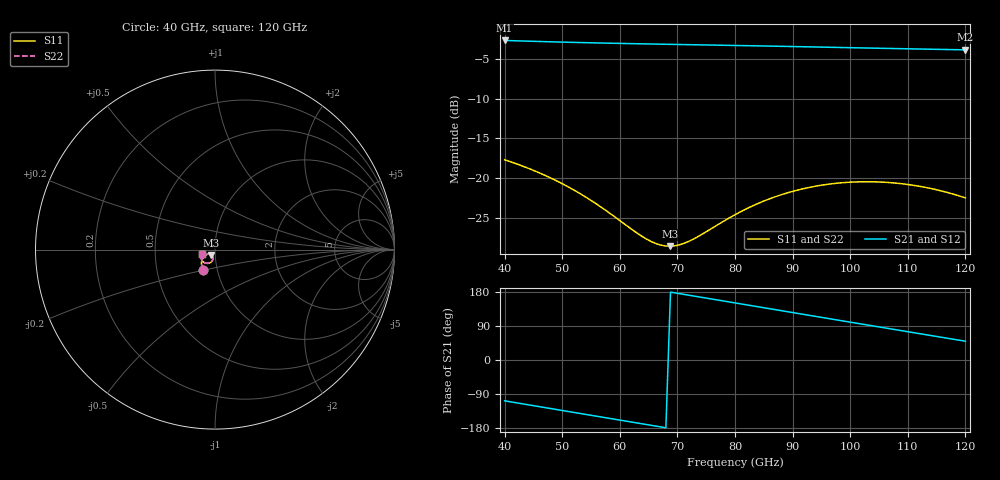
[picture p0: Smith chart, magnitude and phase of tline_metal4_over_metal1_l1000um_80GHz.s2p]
#  GHZ S DB R 50
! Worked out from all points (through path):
!   101 points, 40 GHz to 120 GHz, reference 50 ohm
!   highest |S21| = -2.68 dB at 40 GHz (marker M1); lowest = -3.9 dB at 120 GHz (marker M2)
!   group delay of S21, straight-line fit = 7.04 ps
!   lowest |S11| = -28.6 dB at 68.8 GHz (marker M3), VSWR 1.08, Z = 47.8 - j2.93 ohm
!   |S11| at or under -10 dB: start of sweep to end of sweep
!   |S22| runs from -28.7 to -17.7 dB; largest |S21 - S12| = 1.1e-13
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40  -17.71 -120.5  -2.68 -107.7  -2.68 -107.7  -17.72 -120.5
46.4  -19.48 -135.0  -2.82 -124.1  -2.82 -124.1  -19.49 -135.2
50.4  -20.88 -142.5  -2.89 -134.3  -2.89 -134.3  -20.90 -142.6
53.6  -22.20 -147.0  -2.95 -142.4  -2.95 -142.4  -22.22 -147.2
57.6  -24.11 -149.9  -3.01 -152.5  -3.01 -152.5  -24.14 -150.0
60.8  -25.81 -148.6  -3.06 -160.6  -3.06 -160.6  -25.84 -148.7
64.8  -27.78 -140.2  -3.12 -170.8  -3.12 -170.8  -27.82 -140.3
67.2  -28.49 -131.3  -3.15 -176.8  -3.15 -176.8  -28.53 -131.3
68.8  -28.61 -124.6  -3.17 179.1  -3.17 179.1  -28.65 -124.6
70.4  -28.42 -118.2  -3.19 175.0  -3.19 175.0  -28.46 -118.1
72  -27.99 -112.6  -3.21 171.0  -3.21 171.0  -28.02 -112.5
76  -26.35 -104.4  -3.26 160.8  -3.26 160.8  -26.37 -104.3
80  -24.65 -103.0  -3.31 150.6  -3.31 150.6  -24.66 -102.9
83.2  -23.48 -104.9  -3.35 142.5  -3.35 142.5  -23.49 -104.9
87.2  -22.32 -109.5  -3.40 132.3  -3.40 132.3  -22.34 -109.5
93.6  -21.10 -119.4  -3.49 116.1  -3.49 116.1  -21.11 -119.5
96.8  -20.74 -125.0  -3.54 108.0  -3.54 108.0  -20.76 -125.0
100  -20.54 -130.6  -3.59 99.9  -3.59 99.9  -20.56 -130.7
103.2  -20.48 -136.3  -3.63 91.8  -3.63 91.8  -20.50 -136.4
107.2  -20.61 -143.4  -3.69 81.7  -3.69 81.7  -20.63 -143.5
113.6  -21.28 -153.8  -3.78 65.6  -3.78 65.6  -21.30 -153.9
120  -22.53 -162.2  -3.86 49.6  -3.86 49.6  -22.56 -162.3
